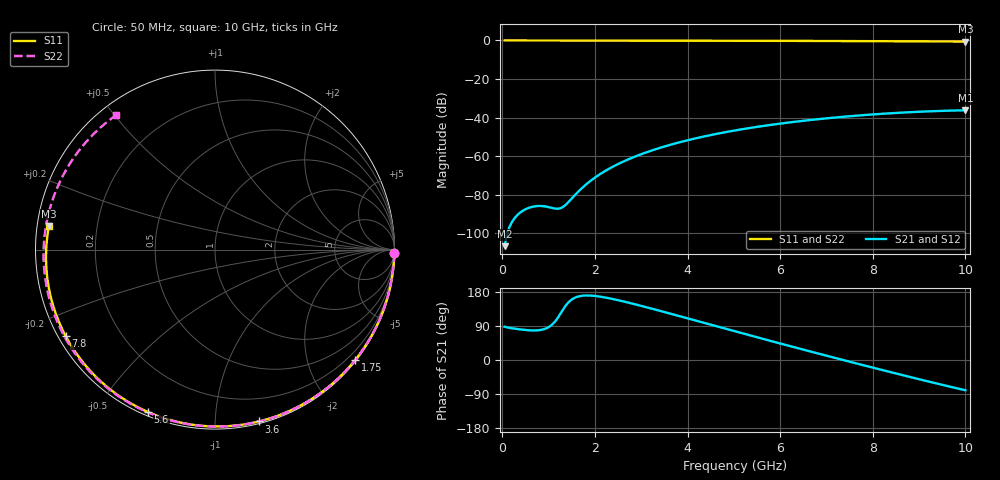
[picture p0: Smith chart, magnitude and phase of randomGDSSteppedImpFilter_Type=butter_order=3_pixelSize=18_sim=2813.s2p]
! freq	dB(S11)	phase(S11)	dB(S12)	phase(S12)
!  dB(S21)	phase(S21)	dB(S22)	phase(S22)
!S-par simulation data
#  GHz  S  DB  R 50
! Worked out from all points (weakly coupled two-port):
!   200 points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, 50 MHz to 10 GHz, reference 50 ohm
!   highest |S21| = -36.17 dB at 10 GHz (marker M1); lowest = -106.6 dB at 50 MHz (marker M2)
!   lowest |S11| = -0.6 dB at 10 GHz (marker M3), VSWR 29.46, Z = 1.71 + j3.55 ohm
!   |S11| at or under -10 dB: nowhere
!   |S22| runs from -0.6 to 0.0 dB; largest |S21 - S12| = 0
!   S11 on the Smith chart (normalised r, x): 50 MHz: open; 1.75 GHz: 0.03, -2.89; 3.6 GHz: 0.02, -1.29; 5.6 GHz: 0.02, -0.67; 7.8 GHz: 0.02, -0.27; 10 GHz: 0.03, +0.07
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0.05  -0.00 -1.1  -106.58 87.8  -106.58 87.8  -0.00 -1.2
0.8  -0.02 -17.7  -85.75 78.8  -85.75 78.8  -0.03 -20.3
1.55  -0.04 -33.9  -80.58 163.3  -80.58 163.3  -0.05 -39.0
1.6  -0.04 -35.0  -79.31 166.0  -79.31 166.0  -0.05 -40.3
1.75  -0.05 -38.2  -75.83 169.9  -75.83 169.9  -0.06 -43.9
2.05  -0.06 -44.5  -70.22 168.3  -70.22 168.3  -0.07 -51.2
2.45  -0.07 -52.8  -64.63 159.3  -64.63 159.3  -0.08 -60.8
2.9  -0.08 -61.9  -59.84 146.0  -59.84 146.0  -0.09 -71.3
3.4  -0.09 -71.8  -55.67 129.9  -55.67 129.9  -0.11 -82.8
3.6  -0.10 -75.7  -54.24 123.3  -54.24 123.3  -0.12 -87.3
4.3  -0.13 -89.0  -50.03 99.9  -50.03 99.9  -0.15 -102.8
5.05  -0.16 -102.6  -46.51 74.9  -46.51 74.9  -0.18 -119.0
5.6  -0.18 -112.4  -44.41 56.7  -44.41 56.7  -0.22 -130.7
6.15  -0.22 -121.9  -42.62 38.7  -42.62 38.7  -0.25 -142.4
6.7  -0.25 -131.3  -41.09 20.9  -41.09 20.9  -0.29 -154.1
7.25  -0.29 -140.6  -39.78 3.4  -39.78 3.4  -0.34 -166.1
7.8  -0.34 -149.9  -38.68 -13.9  -38.68 -13.9  -0.40 -178.4
8.35  -0.40 -159.2  -37.77 -31.0  -37.77 -31.0  -0.45 168.8
8.75  -0.44 -166.0  -37.22 -43.2  -37.22 -43.2  -0.50 159.2
9.15  -0.48 -173.0  -36.78 -55.2  -36.78 -55.2  -0.54 149.1
9.55  -0.53 180.0  -36.44 -67.0  -36.44 -67.0  -0.58 138.7
10  -0.59 171.9  -36.17 -79.9  -36.17 -79.9  -0.63 126.4
